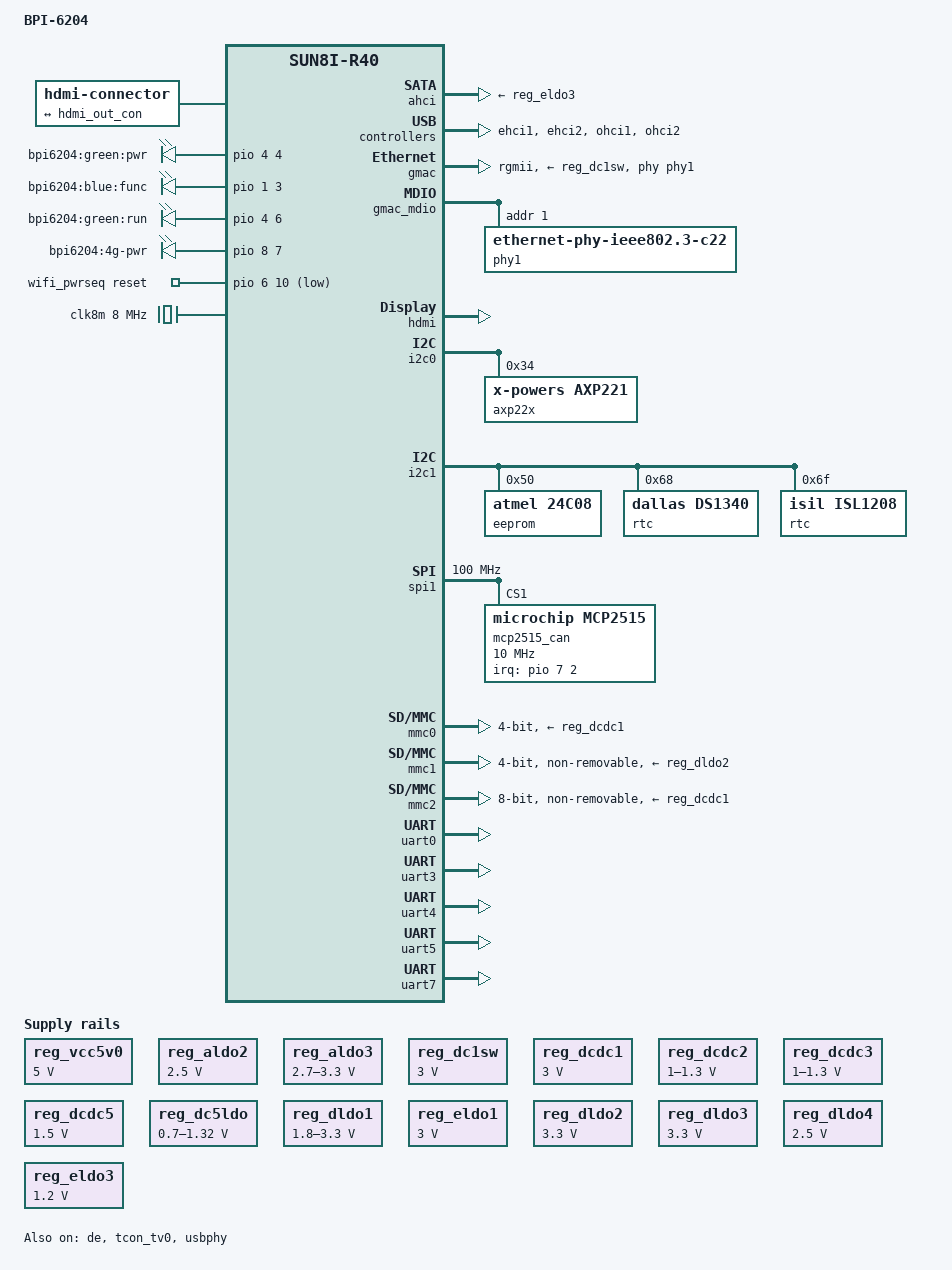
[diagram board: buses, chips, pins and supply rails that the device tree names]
// SPDX-License-Identifier: (GPL-2.0+ OR MIT)
/*
 * Copyright (C) 2017 Chen-Yu Tsai <wens@csie.org>
 * Copyright (C) 2017 Icenowy Zheng <icenowy@aosc.io>
 *
 * Device tree for BPI-6204 (based on Banana Pi M2 Ultra / CS6202)
 */

/dts-v1/;
#include "sun8i-r40.dtsi"
#include "sun8i-r40-cpu-opp.dtsi"

#include <dt-bindings/gpio/gpio.h>

/ {
	model = "BPI-6204";
	compatible = "sinovoip,bpi-6204", "sinovoip,bpi-m2-ultra", "allwinner,sun8i-r40";

	aliases {
		ethernet0 = &gmac;
		serial0 = &uart0;
		spi1 = &spi1;
	};

	chosen {
		stdout-path = "serial0:115200n8";
	};

	connector {
		compatible = "hdmi-connector";
		type = "a";

		port {
			hdmi_con_in: endpoint {
				remote-endpoint = <&hdmi_out_con>;
			};
		};
	};

	leds {
		compatible = "gpio-leds";

		cs6202_gpio_led_pwr {
			label = "bpi6204:green:pwr";
			gpios = <&pio 4 4 GPIO_ACTIVE_HIGH>;  /* LED0 PE4 */
			default-state = "on";
		};

		cs6202_gpio_led_func {
			label = "bpi6204:blue:func";
			gpios = <&pio 1 3 GPIO_ACTIVE_HIGH>; /* FUNC PB3 */
			default-state = "on";
		};

		cs6202_gpio_led_run {
			label = "bpi6204:green:run";
			gpios = <&pio 4 6 GPIO_ACTIVE_HIGH>; /* LED2 PE6 */
			linux,default-trigger = "heartbeat";
		};

		cs6202_gpio_4g_pwr_en {
			label = "bpi6204:4g-pwr";
			gpios = <&pio 8 7 GPIO_ACTIVE_HIGH>; /* 4G-PWR-EN PI7 */
			default-state = "on";
		};
	};

	reg_vcc5v0: vcc5v0 {
		compatible = "regulator-fixed";
		regulator-name = "vcc5v0";
		regulator-min-microvolt = <5000000>;
		regulator-max-microvolt = <5000000>;
	};

	wifi_pwrseq: wifi_pwrseq {
		compatible = "mmc-pwrseq-simple";
		reset-gpios = <&pio 6 10 GPIO_ACTIVE_LOW>; /* PG10 WIFI_EN */
		clocks = <&ccu CLK_OUTA>;
		clock-names = "ext_clock";
		post-power-on-delay-ms = <500>;
		power-off-delay-us = <500>;
	};

	clk8m: clk8m {
		compatible = "fixed-clock";
		#clock-cells = <0>;
		clock-frequency = <8000000>;
		clock-output-names = "clk8m";
	};
};

&ahci {
	ahci-supply = <&reg_dldo4>;
	phy-supply = <&reg_eldo3>;
	status = "okay";
};

&cpu0 {
	cpu-supply = <&reg_dcdc2>;
};

&de {
	status = "okay";
};

&ehci1 {
	status = "okay";
};

&ehci2 {
	status = "okay";
};

&gmac {
	pinctrl-names = "default";
	pinctrl-0 = <&gmac_rgmii_pins>;
	phy-handle = <&phy1>;
	phy-mode = "rgmii";
	phy-supply = <&reg_dc1sw>;
	status = "okay";
};

&gmac_mdio {
	phy1: ethernet-phy@1 {
		compatible = "ethernet-phy-ieee802.3-c22";
		reg = <1>;
	};
};

&hdmi {
	status = "okay";
};

&hdmi_out {
	hdmi_out_con: endpoint {
		remote-endpoint = <&hdmi_con_in>;
	};
};

&i2c0 {
	status = "okay";

	axp22x: pmic@34 {
		compatible = "x-powers,axp221";
		reg = <0x34>;
		interrupt-parent = <&nmi_intc>;
		interrupts = <0 IRQ_TYPE_LEVEL_LOW>;
	};
};

#include "axp22x.dtsi"

&i2c1 {
	status = "okay";

	eeprom: at24@50 {
		compatible = "atmel,24c08";
		reg = <0x50>;
		pagesize = <16>;
	};

	rtc@68 {
		compatible = "dallas,ds1340";
		reg = <0x68>;
	};

	rtc@6f {
		compatible = "isil,isl1208";
		reg = <0x6f>;
	};
};

&spi1 {
	status = "okay";
	clock-frequency = <100000000>;

	mcp2515_can: can@0 {
		status = "okay";
		compatible = "microchip,mcp2515";
		reg = <1>;
		clocks = <&clk8m>;
		interrupt-parent = <&pio>;
		interrupts = <7 2 IRQ_TYPE_LEVEL_LOW>;	/* PH2 */
		spi-max-frequency = <10000000>;
	};
};

&mmc0 {
	vmmc-supply = <&reg_dcdc1>;
	bus-width = <4>;
	/* No CD GPIO - use broken-cd for compatibility with CS6204 */
	broken-cd;
	status = "okay";
};

&mmc1 {
	pinctrl-names = "default";
	pinctrl-0 = <&mmc1_pg_pins>;
	vmmc-supply = <&reg_dldo2>;
	vqmmc-supply = <&reg_dldo1>;
	mmc-pwrseq = <&wifi_pwrseq>;
	bus-width = <4>;
	non-removable;
	status = "okay";
};

&mmc2 {
	vmmc-supply = <&reg_dcdc1>;
	vqmmc-supply = <&reg_dcdc1>;
	bus-width = <8>;
	non-removable;
	status = "okay";

	/* 1. Core solution: Limit physical clock speed. */
	/* Cap the max frequency at 25MHz to ensure stable operation in Legacy Mode. */
	/* Although throughput is lower (~20MB/s), this guarantees stability. */
	max-frequency = <25000000>;

	/* 2. Safety precaution: Explicitly declare 1.8V is not supported. */
	no-1-8-v;
};

&ohci1 {
	status = "okay";
};

&ohci2 {
	status = "okay";
};

&pio {
	pinctrl-names = "default";
	/* pinctrl-0 = <&clk_out_a_pin>; - not used, matching bpi-cs6202 */
	vcc-pa-supply = <&reg_aldo2>;
	vcc-pc-supply = <&reg_dcdc1>;
	vcc-pd-supply = <&reg_dcdc1>;
	vcc-pe-supply = <&reg_eldo1>;
	vcc-pf-supply = <&reg_dcdc1>;
	vcc-pg-supply = <&reg_dldo1>;
};

&reg_aldo2 {
	regulator-always-on;
	regulator-min-microvolt = <2500000>;
	regulator-max-microvolt = <2500000>;
	regulator-name = "vcc-pa";
};

&reg_aldo3 {
	regulator-always-on;
	regulator-min-microvolt = <2700000>;
	regulator-max-microvolt = <3300000>;
	regulator-name = "avcc";
};

&reg_dc1sw {
	regulator-min-microvolt = <3000000>;
	regulator-max-microvolt = <3000000>;
	regulator-name = "vcc-gmac-phy";
};

&reg_dcdc1 {
	regulator-always-on;
	regulator-min-microvolt = <3000000>;
	regulator-max-microvolt = <3000000>;
	regulator-name = "vcc-3v0";
};

&reg_dcdc2 {
	regulator-always-on;
	regulator-min-microvolt = <1000000>;
	regulator-max-microvolt = <1300000>;
	regulator-name = "vdd-cpu";
};

&reg_dcdc3 {
	regulator-always-on;
	regulator-min-microvolt = <1000000>;
	regulator-max-microvolt = <1300000>;
	regulator-name = "vdd-sys";
};

&reg_dcdc5 {
	regulator-always-on;
	regulator-min-microvolt = <1500000>;
	regulator-max-microvolt = <1500000>;
	regulator-name = "vcc-dram";
};

&reg_dc5ldo {
	regulator-always-on;
	regulator-min-microvolt = <700000>;
	regulator-max-microvolt = <1320000>;
	regulator-name = "vdd-cpus";
};

&reg_dldo1 {
	regulator-always-on;
	regulator-min-microvolt = <1800000>;
	regulator-max-microvolt = <3300000>;
	regulator-name = "vcc-wifi-io";
};

&reg_eldo1 {
	regulator-always-on;
	regulator-min-microvolt = <3000000>;
	regulator-max-microvolt = <3000000>;
	regulator-name = "vcc-pe";
};

/*
 * Our WiFi chip needs both DLDO2 and DLDO3 to be powered at the same
 * time, with the two being in sync, to be able to meet maximum power
 * consumption during transmits.
 */
&reg_dldo2 {
	regulator-always-on;
	regulator-min-microvolt = <3300000>;
	regulator-max-microvolt = <3300000>;
	regulator-name = "vcc-wifi";
};

&reg_dldo3 {
	regulator-always-on;
	regulator-min-microvolt = <3300000>;
	regulator-max-microvolt = <3300000>;
	regulator-name = "vcc-wifi-2";
};

&reg_dldo4 {
	regulator-always-on;
	regulator-min-microvolt = <2500000>;
	regulator-max-microvolt = <2500000>;
	regulator-name = "vdd2v5-sata";
};

&reg_eldo3 {
	regulator-always-on;
	regulator-min-microvolt = <1200000>;
	regulator-max-microvolt = <1200000>;
	regulator-name = "vdd1v2-sata";
};

&tcon_tv0 {
	status = "okay";
};

&uart0 {
	pinctrl-names = "default";
	pinctrl-0 = <&uart0_pb_pins>;
	status = "okay";
};

&uart3 {
	pinctrl-names = "default";
	pinctrl-0 = <&uart3_pg_pins>;
	status = "okay";
};

&uart4 {
	pinctrl-names = "default";
	pinctrl-0 = <&uart4_pg_pins>;
	status = "okay";
};

&uart5 {
	pinctrl-names = "default";
	pinctrl-0 = <&uart5_ph_pins>;
	status = "okay";
};

/* uart6 removed - no pin definition in mainline kernel */

&uart7 {
	pinctrl-names = "default";
	pinctrl-0 = <&uart7_pi_pins>;
	status = "okay";
};

&usbphy {
	usb1_vbus-supply = <&reg_vcc5v0>;
	usb2_vbus-supply = <&reg_vcc5v0>;
	status = "okay";
};
